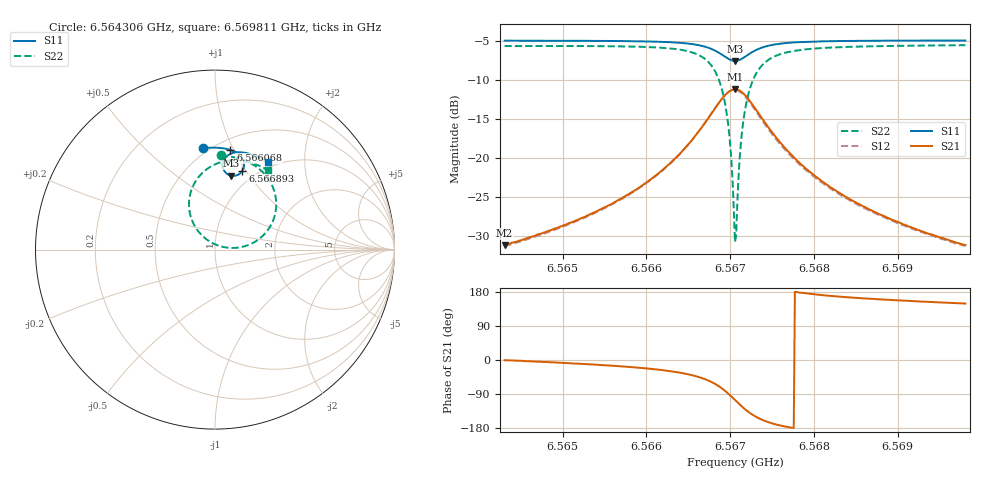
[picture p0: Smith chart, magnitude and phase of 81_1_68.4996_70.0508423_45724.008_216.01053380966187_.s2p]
#  HZ  S  RI  R  50.00
! Rohde & Schwarz Vector Network Analyzer
! Rohde-Schwarz,ZNB20-2Port,1311601062101988,3.16
! Created: UTC 3/20/2024, 5:07:18 PM
! freq[Hz]  re:S11  im:S11  re:S21  im:S21  re:S12  im:S12  re:S22  im:S22
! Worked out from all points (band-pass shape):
!   401 points, 6.564306 GHz to 6.569811 GHz, reference 50 ohm
!   highest |S21| = -11.15 dB at 6.567058 GHz (marker M1); lowest = -31.2 dB at 6.564306 GHz (marker M2)
!   |S21| within 3 dB of the highest: 6.566784 GHz to 6.567335 GHz (550.4 kHz wide, 0.00838 % of centre)
!   lowest |S11| = -7.5 dB at 6.567058 GHz (marker M3), VSWR 2.46, Z = 41.2 + j41.3 ohm
!   |S11| at or under -10 dB: nowhere
!   |S22| runs from -30.8 to -5.5 dB; largest |S21 - S12| = 0.013
!   S11 on the Smith chart (normalised r, x): 6.564306 GHz: 0.46, +0.78; 6.566068 GHz: 0.60, +0.97; 6.566893 GHz: 0.86, +0.97; 6.569811 GHz: 0.92, +1.33
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6.5643062e9  -0.0668 0.5651  0.0276 -0.000206  0.0272 -0.000621  0.0328 0.5244
6.5652282e9  0.00862 0.5677  0.0406 -0.00729  0.04 -0.00786  0.1195 0.5116
6.5660677e9  0.0863 0.5549  0.0679 -0.0298  0.0668 -0.0306  0.2268 0.4644
6.5661502e9  0.095 0.5519  0.0724 -0.0348  0.0713 -0.0357  0.2406 0.4542
6.566453e9  0.1295 0.5328  0.0933 -0.0667  0.0918 -0.0681  0.2994 0.3911
6.5666594e9  0.1534 0.5047  0.1066 -0.1154  0.1044 -0.1177  0.3373 0.2969
6.566797e9  0.1617 0.4712  0.0998 -0.1741  0.0954 -0.1773  0.3317 0.1853
6.5668933e9  0.1529 0.4401  0.0676 -0.2274  0.0602 -0.2305  0.2747 0.0853
6.5669759e9  0.1279 0.4167  0.00784 -0.265  -0.00268 -0.2651  0.1653 0.0186
6.5670034e9  0.1159 0.4124  -0.0184 -0.2708  -0.0297 -0.2693  0.1177 0.00983
6.5670447e9  0.0961 0.411  -0.0604 -0.2699  -0.0719 -0.2654  0.0429 0.0152
6.5670585e9  0.0895 0.412  -0.0744 -0.2669  -0.0857 -0.2612  0.0186 0.0222
6.5670722e9  0.083 0.4139  -0.088 -0.2624  -0.0989 -0.2557  -0.00471 0.0317
6.567086e9  0.0768 0.4163  -0.1009 -0.2567  -0.1113 -0.2489  -0.027 0.0434
6.5671273e9  0.0608 0.4275  -0.135 -0.2326  -0.1431 -0.223  -0.083 0.0899
6.5671686e9  0.0496 0.4424  -0.1592 -0.2024  -0.1646 -0.1914  -0.1207 0.1461
6.5672236e9  0.0431 0.4638  -0.1762 -0.1598  -0.1784 -0.1491  -0.1432 0.2224
6.5672924e9  0.0453 0.488  -0.1789 -0.1127  -0.1781 -0.1037  -0.1392 0.3041
6.5675401e9  0.0837 0.5321  -0.1355 -0.0248  -0.1326 -0.0209  -0.0412 0.4514
6.5679805e9  0.1444 0.5423  -0.079 0.00845  -0.0771 0.00976  0.0881 0.4972
6.5689025e9  0.2295 0.5209  -0.038 0.0148  -0.0374 0.0151  0.2181 0.4787
6.5698107e9  0.2962 0.4878  -0.0237 0.0143  -0.0232 0.0143  0.2966 0.4419
